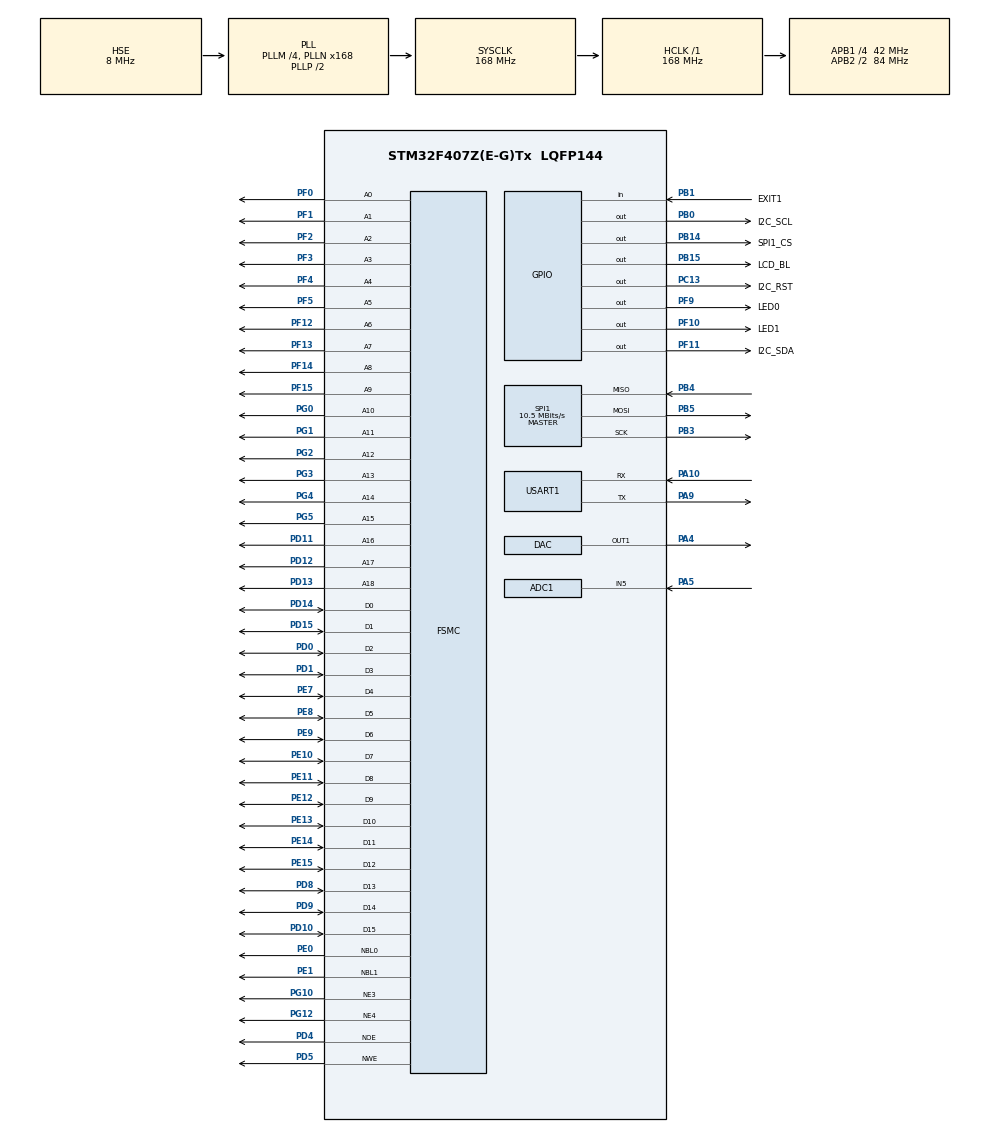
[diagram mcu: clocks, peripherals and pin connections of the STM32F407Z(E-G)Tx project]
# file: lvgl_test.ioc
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ADC1.Channel-0\#ChannelRegularConversion=ADC_CHANNEL_5
ADC1.ContinuousConvMode=DISABLE
ADC1.DMAContinuousRequests=ENABLE
ADC1.ExternalTrigConv=ADC_EXTERNALTRIGCONV_T2_TRGO
ADC1.NbrOfConversionFlag=1
ADC1.Rank-0\#ChannelRegularConversion=1
ADC1.SamplingTime-0\#ChannelRegularConversion=ADC_SAMPLETIME_3CYCLES
ADC1.master=1
Dma.ADC1.0.Direction=DMA_PERIPH_TO_MEMORY
Dma.ADC1.0.FIFOMode=DMA_FIFOMODE_DISABLE
Dma.ADC1.0.Instance=DMA2_Stream4
Dma.ADC1.0.MemDataAlignment=DMA_MDATAALIGN_HALFWORD
Dma.ADC1.0.MemInc=DMA_MINC_ENABLE
Dma.ADC1.0.Mode=DMA_CIRCULAR
Dma.ADC1.0.PeriphDataAlignment=DMA_PDATAALIGN_HALFWORD
Dma.ADC1.0.PeriphInc=DMA_PINC_DISABLE
Dma.ADC1.0.Priority=DMA_PRIORITY_VERY_HIGH
Dma.DAC1.3.Direction=DMA_MEMORY_TO_PERIPH
Dma.DAC1.3.FIFOMode=DMA_FIFOMODE_DISABLE
Dma.DAC1.3.Instance=DMA1_Stream5
Dma.DAC1.3.MemDataAlignment=DMA_MDATAALIGN_HALFWORD
Dma.DAC1.3.MemInc=DMA_MINC_ENABLE
Dma.DAC1.3.Mode=DMA_CIRCULAR
Dma.DAC1.3.PeriphDataAlignment=DMA_PDATAALIGN_HALFWORD
Dma.DAC1.3.PeriphInc=DMA_PINC_DISABLE
Dma.DAC1.3.Priority=DMA_PRIORITY_LOW
Dma.MEMTOMEM.6.Direction=DMA_MEMORY_TO_MEMORY
Dma.MEMTOMEM.6.FIFOMode=DMA_FIFOMODE_ENABLE
Dma.MEMTOMEM.6.FIFOThreshold=DMA_FIFO_THRESHOLD_FULL
Dma.MEMTOMEM.6.Instance=DMA2_Stream1
Dma.MEMTOMEM.6.MemBurst=DMA_MBURST_SINGLE
Dma.MEMTOMEM.6.MemDataAlignment=DMA_MDATAALIGN_HALFWORD
Dma.MEMTOMEM.6.MemInc=DMA_MINC_DISABLE
Dma.MEMTOMEM.6.Mode=DMA_NORMAL
Dma.MEMTOMEM.6.PeriphBurst=DMA_PBURST_SINGLE
Dma.MEMTOMEM.6.PeriphDataAlignment=DMA_PDATAALIGN_HALFWORD
Dma.MEMTOMEM.6.PeriphInc=DMA_PINC_ENABLE
Dma.MEMTOMEM.6.Priority=DMA_PRIORITY_MEDIUM
Dma.Request0=ADC1
Dma.Request1=USART1_RX
Dma.Request2=USART1_TX
Dma.Request3=DAC1
Dma.Request4=SPI1_RX
Dma.Request5=SPI1_TX
Dma.Request6=MEMTOMEM
Dma.SPI1_RX.4.Direction=DMA_PERIPH_TO_MEMORY
Dma.SPI1_RX.4.FIFOMode=DMA_FIFOMODE_DISABLE
Dma.SPI1_RX.4.Instance=DMA2_Stream0
Dma.SPI1_RX.4.MemDataAlignment=DMA_MDATAALIGN_BYTE
Dma.SPI1_RX.4.MemInc=DMA_MINC_ENABLE
Dma.SPI1_RX.4.Mode=DMA_NORMAL
Dma.SPI1_RX.4.PeriphDataAlignment=DMA_PDATAALIGN_BYTE
Dma.SPI1_RX.4.PeriphInc=DMA_PINC_DISABLE
Dma.SPI1_RX.4.Priority=DMA_PRIORITY_LOW
Dma.SPI1_TX.5.Direction=DMA_MEMORY_TO_PERIPH
Dma.SPI1_TX.5.FIFOMode=DMA_FIFOMODE_DISABLE
Dma.SPI1_TX.5.Instance=DMA2_Stream3
Dma.SPI1_TX.5.MemDataAlignment=DMA_MDATAALIGN_BYTE
Dma.SPI1_TX.5.MemInc=DMA_MINC_ENABLE
Dma.SPI1_TX.5.Mode=DMA_NORMAL
Dma.SPI1_TX.5.PeriphDataAlignment=DMA_PDATAALIGN_BYTE
Dma.SPI1_TX.5.PeriphInc=DMA_PINC_DISABLE
Dma.SPI1_TX.5.Priority=DMA_PRIORITY_LOW
Dma.USART1_RX.1.Direction=DMA_PERIPH_TO_MEMORY
Dma.USART1_RX.1.FIFOMode=DMA_FIFOMODE_DISABLE
Dma.USART1_RX.1.Instance=DMA2_Stream2
Dma.USART1_RX.1.MemDataAlignment=DMA_MDATAALIGN_BYTE
Dma.USART1_RX.1.MemInc=DMA_MINC_ENABLE
Dma.USART1_RX.1.Mode=DMA_CIRCULAR
Dma.USART1_RX.1.PeriphDataAlignment=DMA_PDATAALIGN_BYTE
Dma.USART1_RX.1.PeriphInc=DMA_PINC_DISABLE
Dma.USART1_RX.1.Priority=DMA_PRIORITY_LOW
Dma.USART1_TX.2.Direction=DMA_MEMORY_TO_PERIPH
Dma.USART1_TX.2.FIFOMode=DMA_FIFOMODE_DISABLE
Dma.USART1_TX.2.Instance=DMA2_Stream7
Dma.USART1_TX.2.MemDataAlignment=DMA_MDATAALIGN_BYTE
Dma.USART1_TX.2.MemInc=DMA_MINC_ENABLE
Dma.USART1_TX.2.Mode=DMA_NORMAL
Dma.USART1_TX.2.PeriphDataAlignment=DMA_PDATAALIGN_BYTE
Dma.USART1_TX.2.PeriphInc=DMA_PINC_DISABLE
Dma.USART1_TX.2.Priority=DMA_PRIORITY_LOW
FREERTOS.Tasks01=defaultTask,24,1024,StartDefaultTask,Default,NULL,Dynamic,NULL,NULL
FREERTOS.configCHECK_FOR_STACK_OVERFLOW=2
FREERTOS.configTOTAL_HEAP_SIZE=32768
FREERTOS.configUSE_NEWLIB_REENTRANT=1
FSMC.AddressSetupTime3=5
FSMC.AddressSetupTime4=2
FSMC.BusTurnAroundDuration3=0
FSMC.BusTurnAroundDuration4=0
FSMC.DataSetupTime3=15
FSMC.DataSetupTime4=15
FSMC.ExtendedMode3=FSMC_EXTENDED_MODE_DISABLE
FSMC.ExtendedMode4=FSMC_EXTENDED_MODE_DISABLE
FSMC.WriteOperation3=FSMC_WRITE_OPERATION_ENABLE
Mcu.Family=STM32F4
Mcu.Name=STM32F407Z(E-G)Tx
Mcu.Package=LQFP144
NVIC.DMA1_Stream5_IRQn=true\:5\:0\:false\:false\:true\:true\:false\:true\:true
NVIC.DMA2_Stream0_IRQn=true\:6\:0\:true\:false\:true\:true\:false\:true\:true
NVIC.DMA2_Stream1_IRQn=true\:7\:0\:true\:false\:true\:true\:true\:true\:true
NVIC.DMA2_Stream2_IRQn=true\:10\:0\:true\:false\:true\:true\:false\:true\:true
NVIC.DMA2_Stream3_IRQn=true\:6\:0\:true\:false\:true\:true\:false\:true\:true
NVIC.DMA2_Stream4_IRQn=true\:5\:0\:false\:false\:true\:true\:false\:true\:true
NVIC.DMA2_Stream7_IRQn=true\:10\:0\:true\:false\:true\:true\:false\:true\:true
NVIC.PriorityGroup=NVIC_PRIORITYGROUP_4
NVIC.TIM8_TRG_COM_TIM14_IRQn=true\:15\:0\:false\:false\:true\:false\:false\:true\:true
NVIC.TimeBase=TIM8_TRG_COM_TIM14_IRQn
NVIC.TimeBaseIP=TIM14
NVIC.USART1_IRQn=true\:10\:0\:true\:false\:true\:true\:false\:true\:true
PA10.Mode=Asynchronous
PA10.Signal=USART1_RX
PA13.Mode=Serial_Wire
PA13.Signal=SYS_JTMS-SWDIO
PA14.Mode=Serial_Wire
PA14.Signal=SYS_JTCK-SWCLK
PA4.Signal=COMP_DAC1_group
PA5.Signal=ADCx_IN5
PA9.Mode=Asynchronous
PA9.Signal=USART1_TX
PB0.GPIO_Label=I2C_SCL
PB0.GPIO_ModeDefaultOutputPP=GPIO_MODE_OUTPUT_PP
PB0.GPIO_PuPd=GPIO_NOPULL
PB0.GPIO_Speed=GPIO_SPEED_FREQ_HIGH
PB0.Signal=GPIO_Output
PB1.GPIO_Label=EXIT1
PB1.Signal=GPIO_Input
PB14.GPIO_Label=SPI1_CS
PB14.GPIO_Speed=GPIO_SPEED_FREQ_VERY_HIGH
PB14.PinState=GPIO_PIN_SET
PB14.Signal=GPIO_Output
PB15.GPIO_Label=LCD_BL
PB15.PinState=GPIO_PIN_SET
PB15.Signal=GPIO_Output
PB3.Mode=Full_Duplex_Master
PB3.Signal=SPI1_SCK
PB4.GPIO_PuPd=GPIO_PULLUP
PB4.Mode=Full_Duplex_Master
PB4.Signal=SPI1_MISO
PB5.Mode=Full_Duplex_Master
PB5.Signal=SPI1_MOSI
PC13-ANTI_TAMP.GPIO_Label=I2C_RST
PC13-ANTI_TAMP.Signal=GPIO_Output
PC14-OSC32_IN.Mode=LSE-External-Oscillator
PC14-OSC32_IN.Signal=RCC_OSC32_IN
PC15-OSC32_OUT.Mode=LSE-External-Oscillator
PC15-OSC32_OUT.Signal=RCC_OSC32_OUT
PD0.Signal=FSMC_D2_DA2
PD1.Signal=FSMC_D3_DA3
PD10.Signal=FSMC_D15_DA15
PD11.Signal=FSMC_A16_CLE
PD12.Signal=FSMC_A17_ALE
PD13.Signal=FSMC_A18
PD14.Signal=FSMC_D0_DA0
PD15.Signal=FSMC_D1_DA1
PD4.Signal=FSMC_NOE
PD5.Signal=FSMC_NWE
PD8.Signal=FSMC_D13_DA13
PD9.Signal=FSMC_D14_DA14
PE0.Signal=FSMC_NBL0
PE1.Signal=FSMC_NBL1
PE10.Signal=FSMC_D7_DA7
PE11.Signal=FSMC_D8_DA8
PE12.Signal=FSMC_D9_DA9
PE13.Signal=FSMC_D10_DA10
PE14.Signal=FSMC_D11_DA11
PE15.Signal=FSMC_D12_DA12
PE7.Signal=FSMC_D4_DA4
PE8.Signal=FSMC_D5_DA5
PE9.Signal=FSMC_D6_DA6
PF0.Signal=FSMC_A0
PF1.Signal=FSMC_A1
PF10.GPIO_Label=LED1
PF10.PinState=GPIO_PIN_SET
PF10.Signal=GPIO_Output
PF11.GPIO_Label=I2C_SDA
PF11.GPIO_Speed=GPIO_SPEED_FREQ_HIGH
PF11.Signal=GPIO_Output
PF12.Signal=FSMC_A6
PF13.Signal=FSMC_A7
PF14.Signal=FSMC_A8
PF15.Signal=FSMC_A9
PF2.Signal=FSMC_A2
PF3.Signal=FSMC_A3
PF4.Signal=FSMC_A4
PF5.Signal=FSMC_A5
PF9.GPIO_Label=LED0
PF9.PinState=GPIO_PIN_SET
PF9.Signal=GPIO_Output
PG0.Signal=FSMC_A10
PG1.Signal=FSMC_A11
PG10.Mode=NorPsramChipSelect3_3
PG10.Signal=FSMC_NE3
PG12.Mode=NorPsramChipSelect4_4
PG12.Signal=FSMC_NE4
PG2.Signal=FSMC_A12
PG3.Signal=FSMC_A13
PG4.Signal=FSMC_A14
PG5.Signal=FSMC_A15
PH0-OSC_IN.Mode=HSE-External-Oscillator
PH0-OSC_IN.Signal=RCC_OSC_IN
PH1-OSC_OUT.Mode=HSE-External-Oscillator
PH1-OSC_OUT.Signal=RCC_OSC_OUT
ProjectManager.HeapSize=0x200
ProjectManager.StackSize=0x400
ProjectManager.TargetToolchain=STM32CubeIDE
RCC.48MHZClocksFreq_Value=84000000
RCC.AHBFreq_Value=168000000
RCC.APB1CLKDivider=RCC_HCLK_DIV4
RCC.APB1Freq_Value=42000000
RCC.APB1TimFreq_Value=84000000
RCC.APB2CLKDivider=RCC_HCLK_DIV2
RCC.APB2Freq_Value=84000000
RCC.APB2TimFreq_Value=168000000
RCC.CortexFreq_Value=168000000
RCC.HCLKFreq_Value=168000000
RCC.HSE_VALUE=8000000
RCC.HSI_VALUE=16000000
RCC.PLLM=4
RCC.PLLN=168
RCC.PLLSourceVirtual=RCC_PLLSOURCE_HSE
RCC.SYSCLKFreq_VALUE=168000000
RCC.SYSCLKSource=RCC_SYSCLKSOURCE_PLLCLK
RCC.VCOOutputFreq_Value=336000000
SH.ADCx_IN5.0=ADC1_IN5,IN5
SH.COMP_DAC1_group.0=DAC_OUT1,DAC_OUT1
SH.FSMC_A0.0=FSMC_A0,19b-a3
SH.FSMC_A1.0=FSMC_A1,19b-a3
SH.FSMC_A10.0=FSMC_A10,19b-a3
SH.FSMC_A11.0=FSMC_A11,19b-a3
SH.FSMC_A12.0=FSMC_A12,19b-a3
SH.FSMC_A13.0=FSMC_A13,19b-a3
SH.FSMC_A14.0=FSMC_A14,19b-a3
SH.FSMC_A15.0=FSMC_A15,19b-a3
SH.FSMC_A16_CLE.0=FSMC_A16,19b-a3
SH.FSMC_A17_ALE.0=FSMC_A17,19b-a3
SH.FSMC_A18.0=FSMC_A18,19b-a3
SH.FSMC_A2.0=FSMC_A2,19b-a3
SH.FSMC_A3.0=FSMC_A3,19b-a3
SH.FSMC_A4.0=FSMC_A4,19b-a3
SH.FSMC_A5.0=FSMC_A5,19b-a3
SH.FSMC_A6.0=FSMC_A6,19b-a3
SH.FSMC_A6.1=FSMC_A6,A6_4
SH.FSMC_A7.0=FSMC_A7,19b-a3
SH.FSMC_A8.0=FSMC_A8,19b-a3
SH.FSMC_A9.0=FSMC_A9,19b-a3
SH.FSMC_D0_DA0.0=FSMC_D0,16b-d3
SH.FSMC_D0_DA0.1=FSMC_D0,16b-d4
SH.FSMC_D10_DA10.0=FSMC_D10,16b-d3
SH.FSMC_D10_DA10.1=FSMC_D10,16b-d4
SH.FSMC_D11_DA11.0=FSMC_D11,16b-d3
SH.FSMC_D11_DA11.1=FSMC_D11,16b-d4
SH.FSMC_D12_DA12.0=FSMC_D12,16b-d3
SH.FSMC_D12_DA12.1=FSMC_D12,16b-d4
SH.FSMC_D13_DA13.0=FSMC_D13,16b-d3
SH.FSMC_D13_DA13.1=FSMC_D13,16b-d4
SH.FSMC_D14_DA14.0=FSMC_D14,16b-d3
SH.FSMC_D14_DA14.1=FSMC_D14,16b-d4
SH.FSMC_D15_DA15.0=FSMC_D15,16b-d3
SH.FSMC_D15_DA15.1=FSMC_D15,16b-d4
SH.FSMC_D1_DA1.0=FSMC_D1,16b-d3
SH.FSMC_D1_DA1.1=FSMC_D1,16b-d4
SH.FSMC_D2_DA2.0=FSMC_D2,16b-d3
SH.FSMC_D2_DA2.1=FSMC_D2,16b-d4
SH.FSMC_D3_DA3.0=FSMC_D3,16b-d3
SH.FSMC_D3_DA3.1=FSMC_D3,16b-d4
SH.FSMC_D4_DA4.0=FSMC_D4,16b-d3
SH.FSMC_D4_DA4.1=FSMC_D4,16b-d4
SH.FSMC_D5_DA5.0=FSMC_D5,16b-d3
SH.FSMC_D5_DA5.1=FSMC_D5,16b-d4
SH.FSMC_D6_DA6.0=FSMC_D6,16b-d3
SH.FSMC_D6_DA6.1=FSMC_D6,16b-d4
SH.FSMC_D7_DA7.0=FSMC_D7,16b-d3
SH.FSMC_D7_DA7.1=FSMC_D7,16b-d4
SH.FSMC_D8_DA8.0=FSMC_D8,16b-d3
SH.FSMC_D8_DA8.1=FSMC_D8,16b-d4
SH.FSMC_D9_DA9.0=FSMC_D9,16b-d3
SH.FSMC_D9_DA9.1=FSMC_D9,16b-d4
SH.FSMC_NBL0.0=FSMC_NBL0,2ByteEnable3
SH.FSMC_NBL1.0=FSMC_NBL1,2ByteEnable3
SH.FSMC_NOE.0=FSMC_NOE,Sram3
SH.FSMC_NOE.1=FSMC_NOE,Lcd4
SH.FSMC_NWE.0=FSMC_NWE,Sram3
SH.FSMC_NWE.1=FSMC_NWE,Lcd4
SPI1.BaudRatePrescaler=SPI_BAUDRATEPRESCALER_8
SPI1.CalculateBaudRate=10.5 MBits/s
SPI1.Direction=SPI_DIRECTION_2LINES
SPI1.Mode=SPI_MODE_MASTER
SPI1.VirtualType=VM_MASTER
TIM2.AutoReloadPreload=TIM_AUTORELOAD_PRELOAD_ENABLE
TIM2.Period=83
TIM2.TIM_MasterOutputTrigger=TIM_TRGO_UPDATE
TIM5.Prescaler=167
USART1.VirtualMode=VM_ASYNC
VP_FREERTOS_VS_CMSIS_V2.Mode=CMSIS_V2
VP_SYS_VS_tim14.Mode=TIM14
VP_TIM2_VS_ClockSourceINT.Mode=Internal
VP_TIM5_VS_ClockSourceINT.Mode=Internal
board=custom

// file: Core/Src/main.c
/* USER CODE BEGIN Header */
/**
  ******************************************************************************
  * @file           : main.c
  * @brief          : Main program body
  ******************************************************************************
  * @attention
  *
  * Copyright (c) 2026 STMicroelectronics.
  * All rights reserved.
  *
  * This software is licensed under terms that can be found in the LICENSE file
  * in the root directory of this software component.
  * If no LICENSE file comes with this software, it is provided AS-IS.
  *
  ******************************************************************************
  */
/* USER CODE END Header */
#include "main.h"
#include "cmsis_os.h"
#include "adc.h"
#include "dac.h"
#include "dma.h"
#include "spi.h"
#include "tim.h"
#include "usart.h"
#include "gpio.h"
#include "fsmc.h"

void SystemClock_Config(void);
void MX_FREERTOS_Init(void);

int main(void)
{

  /* MCU Configuration--------------------------------------------------------*/

  /* Reset of all peripherals, Initializes the Flash interface and the Systick. */
  HAL_Init();

  /* Configure the system clock */
  SystemClock_Config();

  /* Initialize all configured peripherals */
  MX_GPIO_Init();
  MX_DMA_Init();
  MX_USART1_UART_Init();
  MX_ADC1_Init();
  MX_DAC_Init();
  MX_SPI1_Init();
  MX_FSMC_Init();
  MX_TIM2_Init();
  MX_TIM5_Init();

  /* Init scheduler */
  osKernelInitialize();  /* Call init function for freertos objects (in cmsis_os2.c) */
  MX_FREERTOS_Init();

  /* Start scheduler */
  osKernelStart();

  /* We should never get here as control is now taken by the scheduler */

  /* Infinite loop */
  while (1)
  {

  }
}

void SystemClock_Config(void)
{
  RCC_OscInitTypeDef RCC_OscInitStruct = {0};
  RCC_ClkInitTypeDef RCC_ClkInitStruct = {0};

  /** Configure the main internal regulator output voltage
  */
  __HAL_RCC_PWR_CLK_ENABLE();
  __HAL_PWR_VOLTAGESCALING_CONFIG(PWR_REGULATOR_VOLTAGE_SCALE1);

  /** Initializes the RCC Oscillators according to the specified parameters
  * in the RCC_OscInitTypeDef structure.
  */
  RCC_OscInitStruct.OscillatorType = RCC_OSCILLATORTYPE_HSE;
  RCC_OscInitStruct.HSEState = RCC_HSE_ON;
  RCC_OscInitStruct.PLL.PLLState = RCC_PLL_ON;
  RCC_OscInitStruct.PLL.PLLSource = RCC_PLLSOURCE_HSE;
  RCC_OscInitStruct.PLL.PLLM = 4;
  RCC_OscInitStruct.PLL.PLLN = 168;
  RCC_OscInitStruct.PLL.PLLP = RCC_PLLP_DIV2;
  RCC_OscInitStruct.PLL.PLLQ = 4;
  if (HAL_RCC_OscConfig(&RCC_OscInitStruct) != HAL_OK)
  {
    Error_Handler();
  }

  /** Initializes the CPU, AHB and APB buses clocks
  */
  RCC_ClkInitStruct.ClockType = RCC_CLOCKTYPE_HCLK|RCC_CLOCKTYPE_SYSCLK
                              |RCC_CLOCKTYPE_PCLK1|RCC_CLOCKTYPE_PCLK2;
  RCC_ClkInitStruct.SYSCLKSource = RCC_SYSCLKSOURCE_PLLCLK;
  RCC_ClkInitStruct.AHBCLKDivider = RCC_SYSCLK_DIV1;
  RCC_ClkInitStruct.APB1CLKDivider = RCC_HCLK_DIV4;
  RCC_ClkInitStruct.APB2CLKDivider = RCC_HCLK_DIV2;

  if (HAL_RCC_ClockConfig(&RCC_ClkInitStruct, FLASH_LATENCY_5) != HAL_OK)
  {
    Error_Handler();
  }
}

void HAL_TIM_PeriodElapsedCallback(TIM_HandleTypeDef *htim)
{
  if (htim->Instance == TIM14)
  {
    HAL_IncTick();
  }
}

void Error_Handler(void)
{
  __disable_irq();
  while (1)
  {
  }
}

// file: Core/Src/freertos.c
/* USER CODE BEGIN Header */
/**
  ******************************************************************************
  * File Name          : freertos.c
  * Description        : Code for freertos applications
  ******************************************************************************
  * @attention
  *
  * Copyright (c) 2026 STMicroelectronics.
  * All rights reserved.
  *
  * This software is licensed under terms that can be found in the LICENSE file
  * in the root directory of this software component.
  * If no LICENSE file comes with this software, it is provided AS-IS.
  *
  ******************************************************************************
  */
/* USER CODE END Header */

#include "FreeRTOS.h"
#include "task.h"
#include "main.h"
#include "cmsis_os.h"

/* USER CODE BEGIN Includes */
#include "bsp_adc.h"
#include "bsp_dac.h"

#include "app.h"
#include "middleware.h"
#include "bsp.h"

#include "lv_freeRTOS.h"
#include "app_data_fft.h"
#include "easyflash.h"
#include "elog.h"

#include <stdio.h>
/* USER CODE END Includes */

/* USER CODE BEGIN PD */
#ifndef TEST_BSP_DEBUG
#define TEST_BSP_DEBUG 0
#endif
#ifndef TEST_MIDDLEWARE_DEBUG
#define TEST_MIDDLEWARE_DEBUG 0
#endif
/* USER CODE END PD */

/* USER CODE BEGIN Variables */
static uint8_t led_state=0;
/* USER CODE END Variables */
/* Definitions for defaultTask */
osThreadId_t defaultTaskHandle;
const osThreadAttr_t defaultTask_attributes = {
  .name = "defaultTask",
  .stack_size = 1024 * 4,
  .priority = (osPriority_t) osPriorityNormal,
};

/* USER CODE BEGIN FunctionPrototypes */
static void led_toggle(void)
{
  HAL_GPIO_WritePin(GPIOF,GPIO_PIN_9 , GPIO_PIN_RESET);
  HAL_GPIO_WritePin(GPIOF,GPIO_PIN_10 , led_state?GPIO_PIN_SET:GPIO_PIN_RESET);
  led_state=!led_state;
}
/* USER CODE END FunctionPrototypes */

void StartDefaultTask(void *argument);

void MX_FREERTOS_Init(void); /* (MISRA C 2004 rule 8.1) */

/* Hook prototypes */
void vApplicationStackOverflowHook(xTaskHandle xTask, signed char *pcTaskName);

/* USER CODE BEGIN 4 */
void vApplicationStackOverflowHook(xTaskHandle xTask, signed char *pcTaskName)
{
   /* Run time stack overflow checking is performed if
   configCHECK_FOR_STACK_OVERFLOW is defined to 1 or 2. This hook function is
   called if a stack overflow is detected. */
}
/* USER CODE END 4 */

void MX_FREERTOS_Init(void) {

  /* Create the thread(s) */
  /* creation of defaultTask */
  defaultTaskHandle = osThreadNew(StartDefaultTask, NULL, &defaultTask_attributes);

}

void StartDefaultTask(void *argument)
{
  /* USER CODE BEGIN StartDefaultTask */
  /* 在任务中初始化触摸屏，确保 HAL_Delay 正常工作 */
  BSP_Init();
  HAL_Delay(500);
  middleware_init();
  HAL_Delay(500);
  app_init();
#if TEST_BSP_DEBUG
  Test_BSP();
#endif
#if TEST_MIDDLEWARE_DEBUG
  Test_Middleware();
#endif

  /* Infinite loop */
  for(;;)
  {

    led_toggle();
    osDelay(1000); // 缩短到 1s
  }
  /* USER CODE END StartDefaultTask */
}
